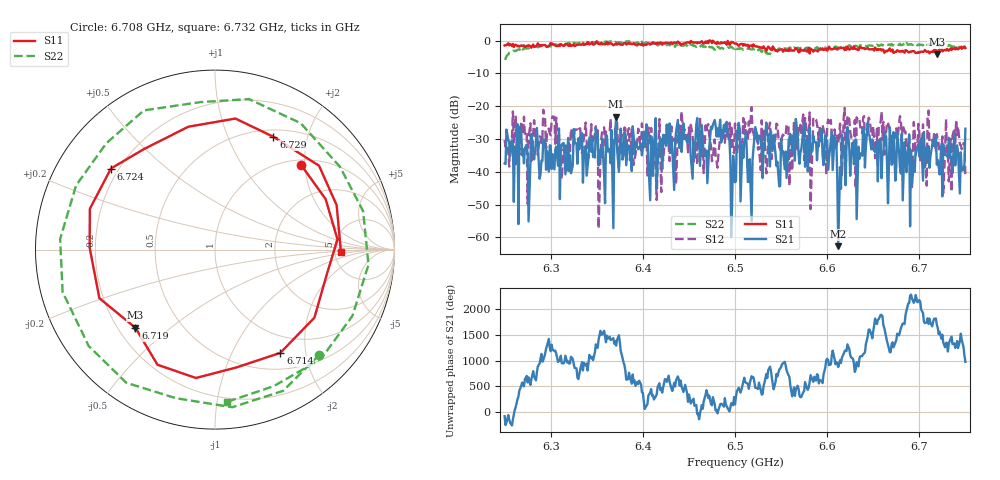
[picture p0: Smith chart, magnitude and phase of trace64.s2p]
# Hz S RI R 50
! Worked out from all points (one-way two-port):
!   401 points, 6.25 GHz to 6.75 GHz, reference 50 ohm
!   highest |S21| = -23.14 dB at 6.371 GHz (marker M1); lowest = -62.6 dB at 6.612 GHz (marker M2)
!   lowest |S11| = -4.1 dB at 6.719 GHz (marker M3), VSWR 4.28, Z = 13.5 - j19.1 ohm
!   |S11| at or under -10 dB: nowhere
!   |S22| runs from -5.6 to -0.1 dB; largest |S21 - S12| = 0.12
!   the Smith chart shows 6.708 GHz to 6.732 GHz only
!   S11 on the Smith chart (normalised r, x): 6.708 GHz: 1.11, +1.91; 6.714 GHz: 0.73, -1.56; 6.719 GHz: 0.27, -0.38; 6.724 GHz: 0.17, +0.33; 6.729 GHz: 0.59, +1.48; 6.732 GHz: 5.69, -0.29
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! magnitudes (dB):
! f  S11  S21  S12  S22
! 6.25 GHz  -1.5  -37.4  -30.3  -5.5
! 6.334 GHz  -1.2  -28.2  -34.3  -0.9
! 6.371 GHz  -0.8  -23.1  -25.7  -0.5
! 6.418 GHz  -0.8  -31.6  -23.9  -1.2
! 6.44 GHz  -0.7  -32.8  -31.8  -1.4
! 6.459 GHz  -0.8  -23.6  -37.8  -1.6
! 6.469 GHz  -0.8  -33.5  -27.7  -1.7
! 6.476 GHz  0.0  -25.7  -35.7  -2.2
! 6.5 GHz  -0.9  -43.2  -25.3  -1.9
! 6.584 GHz  -2.9  -33.3  -32.0  -2.5
! 6.608 GHz  -2.4  -29.5  -27.1  -2.0
! 6.612 GHz  -2.4  -62.6  -31.5  -2.1
! 6.646 GHz  -2.7  -29.0  -24.1  -1.5
! 6.668 GHz  -2.4  -26.4  -27.0  -1.2
! 6.708 GHz  -3.4  -32.6  -44.2  -1.7
! 6.714 GHz  -3.3  -31.7  -30.3  -1.1
! 6.719 GHz  -4.1  -37.8  -28.5  -1.4
! 6.724 GHz  -2.7  -31.5  -34.5  -1.4
! 6.729 GHz  -3.0  -34.9  -23.9  -1.4
! 6.732 GHz  -3.1  -29.6  -42.9  -1.4
! 6.74 GHz  -2.1  -33.2  -24.1  -1.8
! 6.75 GHz  -2.3  -26.8  -41.8  -2.1
